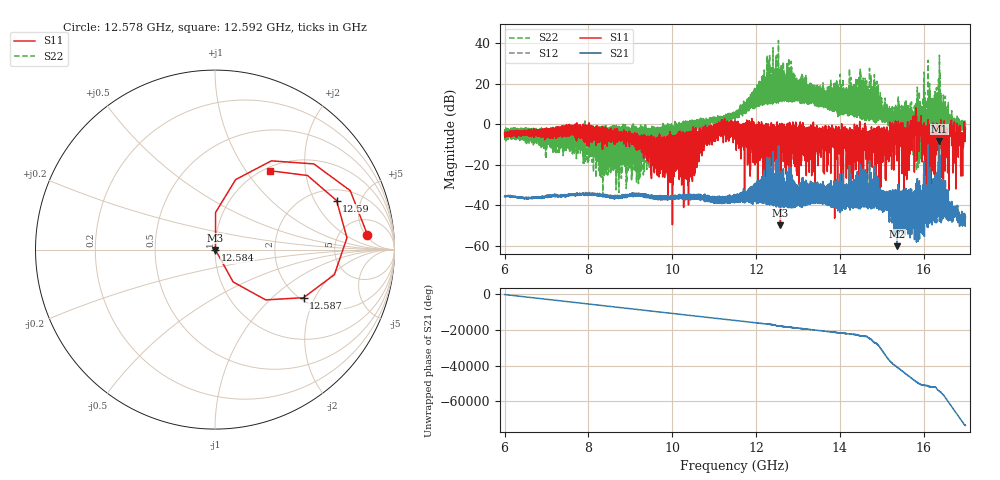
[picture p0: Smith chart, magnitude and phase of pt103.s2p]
#  HZ  S  RI  R  50.00
! Rohde & Schwarz Vector Network Analyzer
! Rohde-Schwarz,ZNA67-2Port,1332450062101215,3.01
! Created: UTC 10/19/2026, 1:34:58 PM
! freq[Hz]  re:S11  im:S11  re:S21  im:S21  re:S12  im:S12  re:S22  im:S22
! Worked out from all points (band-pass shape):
!   11001 points, 6 GHz to 17 GHz, reference 50 ohm
!   highest |S21| = -8.24 dB at 16.38 GHz (marker M1); lowest = -60.2 dB at 15.365 GHz (marker M2)
!   |S21| within 3 dB of the highest: 12.53698 GHz to 12.53702 GHz (41.93 kHz wide, 0.000334 % of centre); 16.11096 GHz to 16.11103 GHz (77.72 kHz wide, 0.000482 % of centre)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
!   lowest |S11| = -49.9 dB at 12.584 GHz (marker M3), VSWR 1.01, Z = 50.3 - j0.172 ohm
!   |S11| at or under -10 dB: 16.27822 GHz to 16.29273 GHz (14.51 MHz wide, 0.0891 % of centre); 16.76767 GHz to 16.78283 GHz (15.17 MHz wide, 0.0904 % of centre); 16.92838 GHz to 16.94374 GHz (15.35 MHz wide, 0.0907 % of centre)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
!   |S22| runs from -35.2 to 41.5 dB; largest |S21 - S12| = 0.01
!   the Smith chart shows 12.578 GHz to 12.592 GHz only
!   S11 on the Smith chart (normalised r, x): 12.578 GHz: 9, +6; 12.584 GHz: 1.01, -0.00; 12.587 GHz: 2.09, -1.63; 12.59 GHz: 2.61, +3.06; 12.592 GHz: 1.06, +1.31
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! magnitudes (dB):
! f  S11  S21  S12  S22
! 6 GHz  -4.2  -35.7  -35.6  -5.6
! 7.834 GHz  -5.5  -34.5  -34.4  -3.4
! 9.667 GHz  -13.6  -36.4  -36.5  -1.9
! 10.35 GHz  -3.8  -35.5  -35.6  -5.8
! 11.221 GHz  -9.0  -38.3  -38.3  3.2
! 11.5 GHz  0.7  -37.5  -37.4  4.9
! 12.578 GHz  -1.4  -32.9  -32.8  18.8
! 12.584 GHz  -49.9  -25.0  -24.9  28.0
! 12.587 GHz  -5.0  -36.9  -36.8  15.6
! 12.59 GHz  -2.7  -34.2  -34.1  17.4
! 12.592 GHz  -5.4  -40.5  -40.6  11.1
! 13.334 GHz  -8.9  -36.7  -36.6  12.9
! 15.167 GHz  -7.0  -38.3  -38.3  7.3
! 15.365 GHz  -11.7  -60.2  -60.2  -0.3
! 15.619 GHz  1.3  -35.7  -35.7  3.8
! 15.784 GHz  -11.9  -41.0  -40.9  3.0
! 16.184 GHz  -20.1  -45.9  -45.9  -7.1
! 16.38 GHz  -4.8  -8.2  -8.1  34.2
! 16.565 GHz  -6.6  -42.7  -42.7  -3.6
! 16.689 GHz  -9.7  -46.6  -46.6  -1.4
! 16.899 GHz  -8.7  -45.6  -45.4  0.4
! 17 GHz  -2.4  -45.8  -45.8  1.2
